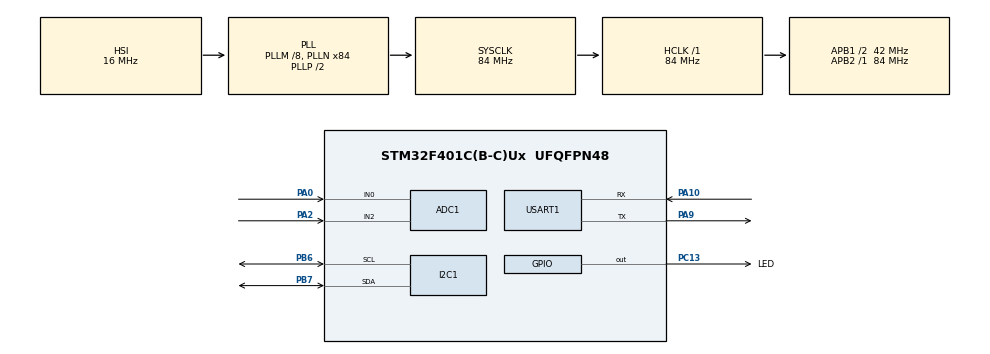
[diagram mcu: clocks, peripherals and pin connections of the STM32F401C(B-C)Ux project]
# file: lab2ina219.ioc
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ADC1.Channel-0\#ChannelRegularConversion=ADC_CHANNEL_0
ADC1.Channel-1\#ChannelRegularConversion=ADC_CHANNEL_0
ADC1.NbrOfConversion=2
ADC1.NbrOfConversionFlag=1
ADC1.Rank-0\#ChannelRegularConversion=1
ADC1.Rank-1\#ChannelRegularConversion=2
ADC1.SamplingTime-0\#ChannelRegularConversion=ADC_SAMPLETIME_3CYCLES
ADC1.SamplingTime-1\#ChannelRegularConversion=ADC_SAMPLETIME_3CYCLES
ADC1.ScanConvMode=ENABLE
ADC1.master=1
Mcu.Family=STM32F4
Mcu.Name=STM32F401C(B-C)Ux
Mcu.Package=UFQFPN48
NVIC.PriorityGroup=NVIC_PRIORITYGROUP_4
PA0-WKUP.Signal=ADCx_IN0
PA10.Mode=Asynchronous
PA10.Signal=USART1_RX
PA13.Mode=Serial_Wire
PA13.Signal=SYS_JTMS-SWDIO
PA14.Mode=Serial_Wire
PA14.Signal=SYS_JTCK-SWCLK
PA2.Signal=ADCx_IN2
PA9.Mode=Asynchronous
PA9.Signal=USART1_TX
PB6.Mode=I2C
PB6.Signal=I2C1_SCL
PB7.Mode=I2C
PB7.Signal=I2C1_SDA
PC13-ANTI_TAMP.GPIO_Label=LED
PC13-ANTI_TAMP.Signal=GPIO_Output
PH0\ -\ OSC_IN.Mode=HSE-External-Oscillator
PH0\ -\ OSC_IN.Signal=RCC_OSC_IN
PH1\ -\ OSC_OUT.Mode=HSE-External-Oscillator
PH1\ -\ OSC_OUT.Signal=RCC_OSC_OUT
ProjectManager.HeapSize=0x200
ProjectManager.StackSize=0x400
ProjectManager.TargetToolchain=CMake
RCC.48MHZClocksFreq_Value=42000000
RCC.AHBFreq_Value=84000000
RCC.APB1CLKDivider=RCC_HCLK_DIV2
RCC.APB1Freq_Value=42000000
RCC.APB1TimFreq_Value=84000000
RCC.APB2Freq_Value=84000000
RCC.APB2TimFreq_Value=84000000
RCC.CortexFreq_Value=84000000
RCC.HCLKFreq_Value=84000000
RCC.HSE_VALUE=25000000
RCC.HSI_VALUE=16000000
RCC.LSE_VALUE=32768
RCC.PLLM=8
RCC.PLLN=84
RCC.SYSCLKFreq_VALUE=84000000
RCC.SYSCLKSource=RCC_SYSCLKSOURCE_PLLCLK
RCC.VCOOutputFreq_Value=168000000
SH.ADCx_IN0.0=ADC1_IN0,IN0
SH.ADCx_IN2.0=ADC1_IN2,IN2
USART1.VirtualMode=VM_ASYNC
board=custom

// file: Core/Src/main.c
/* USER CODE BEGIN Header */
/**
  ******************************************************************************
  * @file           : main.c
  * @brief          : Main program body
  ******************************************************************************
  * @attention
  *
  * Copyright (c) 2026 STMicroelectronics.
  * All rights reserved.
  *
  * This software is licensed under terms that can be found in the LICENSE file
  * in the root directory of this software component.
  * If no LICENSE file comes with this software, it is provided AS-IS.
  *
  ******************************************************************************
  */
/* USER CODE END Header */
#include "main.h"
#include "adc.h"
#include "i2c.h"
#include "usart.h"
#include "gpio.h"

/* USER CODE BEGIN Includes */
#include "stdio.h"
#include "string.h"
#include "stdlib.h"
#include "math.h"
#include "uart.h"
#include "adc_x.h"
#include "INA219.h"
/* USER CODE END Includes */

/* USER CODE BEGIN PD */
#define FACTOR_DIVISOR 4.0f // (R1+R2)/R2 // Para leer hasta 15V debe ser >= 4.55
#define FORMATO_TELEPLOT 1
#define UMBRAL_ALARMA 10.0f // Umbral de alarma para el voltaje de la batería (en voltios)
#define HISTERESIS 0.3f // Histeresis para evitar oscilaciones en la alarma (en voltios)
#define LED_ON   HAL_GPIO_WritePin(GPIOC, GPIO_PIN_13, GPIO_PIN_RESET)
#define LED_OFF  HAL_GPIO_WritePin(GPIOC, GPIO_PIN_13, GPIO_PIN_SET)
/* USER CODE END PD */

/* USER CODE BEGIN PV */
uint16_t adc_value;
char buffer[50];
float voltaje; // Potenciometro en A0
float bateria; // Divisor de voltaje 0-15V (A2)
float voltaje_ina; // Voltaje del bus del 1NA219 (PB6 SCL Y PB7 SDA)
uint8_t ina_ok; // Flag de inicializacion del INA219
uint16_t adc1_codigo[ADC1_NUM_CHANNELS]; // Arreglo para almacenar los codigos de los canales del ADC
uint8_t alarma = 0; // Flag de alarma para el voltaje de la batería

/* USER CODE END PV */

void SystemClock_Config(void);

int main(void)
{

  /* MCU Configuration--------------------------------------------------------*/

  /* Reset of all peripherals, Initializes the Flash interface and the Systick. */
  HAL_Init();

  /* Configure the system clock */
  SystemClock_Config();

  /* Initialize all configured peripherals */
  MX_GPIO_Init();
  MX_ADC1_Init();
  MX_I2C1_Init();
  MX_USART1_UART_Init();
  /* USER CODE BEGIN 2 */
  uartx_write_text(&huart1, "Iniciando laboratorio de Sistemas Embebidos\r\n");

  ina_ok = INA219_Init();
  if (ina_ok == 0)
  {
    uartx_write_text(&huart1, "INA219  no inicializado correctamente\r\n");
  }
  else
  {
    uartx_write_text(&huart1, "INA219 inicializado correctamente\r\n");
  }

  /* USER CODE END 2 */

  /* Infinite loop */
  /* USER CODE BEGIN WHILE */
  while (1)
  {
    // -- Lectura ADC
    // rank 1 = canal O (PA0), rank 2 = canal 2 (PA2)
    ADC_Read_All(&hadc1, ADC1_NUM_CHANNELS, adc1_codigo);
    voltaje = (float)adc1_codigo[0] * 3.3 / 4095.0;      // potenciometro
    bateria = (float)adc1_codigo[1] * 3.3 / 4095.0;      // divisor
    bateria = bateria * FACTOR_DIVISOR;
    if (!alarma && bateria > UMBRAL_ALARMA)
        alarma = 1;
    else if (alarma && bateria < (UMBRAL_ALARMA - HISTERESIS))
        alarma = 0;

    if (alarma) { LED_ON; } else { LED_OFF; }                 // Ajuste segun el divisor de voltaje utilizado
    // Lectura INA219 por I2C (La librería entrega en mV)
    voltaje_ina = INA219_ReadBusVoltage() / 1000.0f;  // Se convierte de mV a V
    // Corriente en mA (Opcional) -> INA219_ReadCurrent();

    // Envio por USART1 (9600 baud)
    #if FORMATO_TELEPLOT
    sprintf(buffer, ">Voltaje:%.2f\r\n", voltaje);
    uartx_write_text(&huart1, buffer);
    sprintf(buffer, ">Bateria:%.2f\r\n", bateria);
    uartx_write_text(&huart1, buffer);
    sprintf(buffer, ">INA219:%.2f\r\n", voltaje_ina);
    uartx_write_text(&huart1, buffer);
    sprintf(buffer, ">Alarma:%d\r\n", alarma);
    uartx_write_text(&huart1, buffer);
#else
    sprintf(buffer, "Bateria= %.2f V\r\n", bateria);
    uartx_write_text(&huart1, buffer);
    sprintf(buffer, "Voltaje= %.2f V\r\n", voltaje);
    uartx_write_text(&huart1, buffer);
    sprintf(buffer, "INA219= %.2f V\r\n", voltaje_ina);
    uartx_write_text(&huart1, buffer);
#endif

    HAL_Delay(500);
    /* USER CODE END WHILE */

  }
}

void SystemClock_Config(void)
{
  RCC_OscInitTypeDef RCC_OscInitStruct = {0};
  RCC_ClkInitTypeDef RCC_ClkInitStruct = {0};

  /** Configure the main internal regulator output voltage
  */
  __HAL_RCC_PWR_CLK_ENABLE();
  __HAL_PWR_VOLTAGESCALING_CONFIG(PWR_REGULATOR_VOLTAGE_SCALE2);

  /** Initializes the RCC Oscillators according to the specified parameters
  * in the RCC_OscInitTypeDef structure.
  */
  RCC_OscInitStruct.OscillatorType = RCC_OSCILLATORTYPE_HSI;
  RCC_OscInitStruct.HSIState = RCC_HSI_ON;
  RCC_OscInitStruct.HSICalibrationValue = RCC_HSICALIBRATION_DEFAULT;
  RCC_OscInitStruct.PLL.PLLState = RCC_PLL_ON;
  RCC_OscInitStruct.PLL.PLLSource = RCC_PLLSOURCE_HSI;
  RCC_OscInitStruct.PLL.PLLM = 8;
  RCC_OscInitStruct.PLL.PLLN = 84;
  RCC_OscInitStruct.PLL.PLLP = RCC_PLLP_DIV2;
  RCC_OscInitStruct.PLL.PLLQ = 4;
  if (HAL_RCC_OscConfig(&RCC_OscInitStruct) != HAL_OK)
  {
    Error_Handler();
  }

  /** Initializes the CPU, AHB and APB buses clocks
  */
  RCC_ClkInitStruct.ClockType = RCC_CLOCKTYPE_HCLK|RCC_CLOCKTYPE_SYSCLK
                              |RCC_CLOCKTYPE_PCLK1|RCC_CLOCKTYPE_PCLK2;
  RCC_ClkInitStruct.SYSCLKSource = RCC_SYSCLKSOURCE_PLLCLK;
  RCC_ClkInitStruct.AHBCLKDivider = RCC_SYSCLK_DIV1;
  RCC_ClkInitStruct.APB1CLKDivider = RCC_HCLK_DIV2;
  RCC_ClkInitStruct.APB2CLKDivider = RCC_HCLK_DIV1;

  if (HAL_RCC_ClockConfig(&RCC_ClkInitStruct, FLASH_LATENCY_2) != HAL_OK)
  {
    Error_Handler();
  }
}

void Error_Handler(void)
{
  __disable_irq();
  while (1)
  {
  }
}
